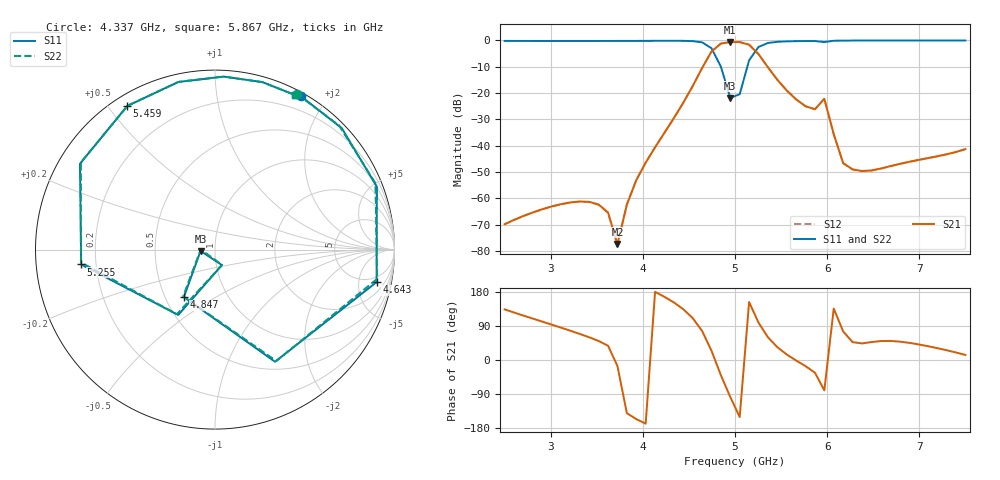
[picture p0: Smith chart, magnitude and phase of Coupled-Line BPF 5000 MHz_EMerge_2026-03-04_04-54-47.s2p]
! Generated by EMerge - 2-port S-parameters
! File generated: 2026-03-04 04:54
! --- Coupled-Line BPF 5000 MHz ---
! Substrate: RO4003C
! h = 0.508 mm
! W50 = 1.1 mm, Lfeed = 5 mm
! L1 = 8.93 mm, S1 = 0.1 mm, W1 = 0.8 mm
! L2 = 8.93 mm, S2 = 0.1 mm, W2 = 1.08 mm
! Run time = 1.03 min
# GHZ S RI R 50
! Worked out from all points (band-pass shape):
!   50 points, 2.5 GHz to 7.5 GHz, reference 50 ohm
!   highest |S21| = -0.65 dB at 4.949 GHz (marker M1); lowest = -77.4 dB at 3.724 GHz (marker M2)
!   |S21| within 3 dB of the highest: 4.765 GHz to 5.21 GHz (444.6 MHz wide, 8.91 % of centre)
!   lowest |S11| = -21.9 dB at 4.949 GHz (marker M3), VSWR 1.18, Z = 42.6 - j0.659 ohm
!   |S11| at or under -10 dB: 4.847 GHz to 5.134 GHz (286.9 MHz wide, 5.75 % of centre)
!   |S22| runs from -22.0 to 0.0 dB; largest |S21 - S12| = 0.00095
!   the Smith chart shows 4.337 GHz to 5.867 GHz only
!   S11 on the Smith chart (normalised r, x): 4.337 GHz: 0.04, +1.70; 4.643 GHz: 3.66, -8.46; 4.847 GHz: 0.62, -0.37; 5.255 GHz: 0.14, -0.05; 5.459 GHz: 0.04, +0.56; 5.867 GHz: 0.06, +1.64
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2.5  -0.8054 -0.5497  -0.000222 0.000233  -0.000221 0.000231  -0.8008 -0.5564
3.418367  -0.8486 0.4758  0.00043 0.000741  0.000424 0.000735  -0.8552 0.4637
3.622449  -0.6858 0.6915  0.000426 0.000328  0.000415 0.000322  -0.6964 0.6806
3.72449  -0.5774 0.7851  0.00013 -3.73e-05  0.000115 -4.36e-05  -0.5901 0.7754
3.826531  -0.4505 0.8651  -0.000583 -0.000483  -0.000602 -0.000488  -0.4652 0.8571
3.928571  -0.3045 0.9277  -0.00201 -0.000898  -0.00204 -0.000902  -0.3211 0.9219
4.234694  0.2529 0.9464  -0.0171 0.00403  -0.0172 0.00405  0.2333 0.9512
4.336735  0.4765 0.8563  -0.0294 0.0157  -0.0295 0.0158  0.4579 0.8661
4.540816  0.902 0.3502  -0.0476 0.1266  -0.0476 0.1269  0.8939 0.3698
4.642857  0.9001 -0.1812  0.068 0.2891  0.0681 0.2896  0.9033 -0.1633
4.744898  0.3346 -0.6248  0.5585 0.2528  0.5592 0.2531  0.3412 -0.6206
4.846939  -0.1735 -0.2647  0.6626 -0.5623  0.6633 -0.563  -0.1775 -0.2606
4.94898  -0.0804 -0.0077  -0.1225 -0.9202  -0.1226 -0.9211  -0.0796 0.000213
5.05102  0.0387 -0.0863  -0.808 -0.456  -0.8088 -0.4564  0.0393 -0.0853
5.153061  -0.2049 -0.3642  -0.7351 0.3766  -0.7357 0.3769  -0.2121 -0.3598
5.255102  -0.7456 -0.083  -0.0828 0.5416  -0.0829 0.542  -0.747 -0.0715
5.459184  -0.4898 0.7997  0.1482 0.0996  0.1483 0.0996  -0.4853 0.8027
5.867347  0.4468 0.8607  0.041 -0.0271  0.041 -0.0271  0.4449 0.8616
5.969388  0.579 0.7239  0.0133 -0.0763  0.0135 -0.0763  0.5768 0.725
6.173469  0.7993 0.5819  0.00117 0.00453  0.00115 0.00447  0.7965 0.5857
6.683673  0.9926 -0.0608  0.0026 0.00314  0.00257 0.00312  0.9929 -0.0548
7.5  0.5206 -0.8443  0.00838 0.00199  0.00831 0.00209  0.5262 -0.8407
